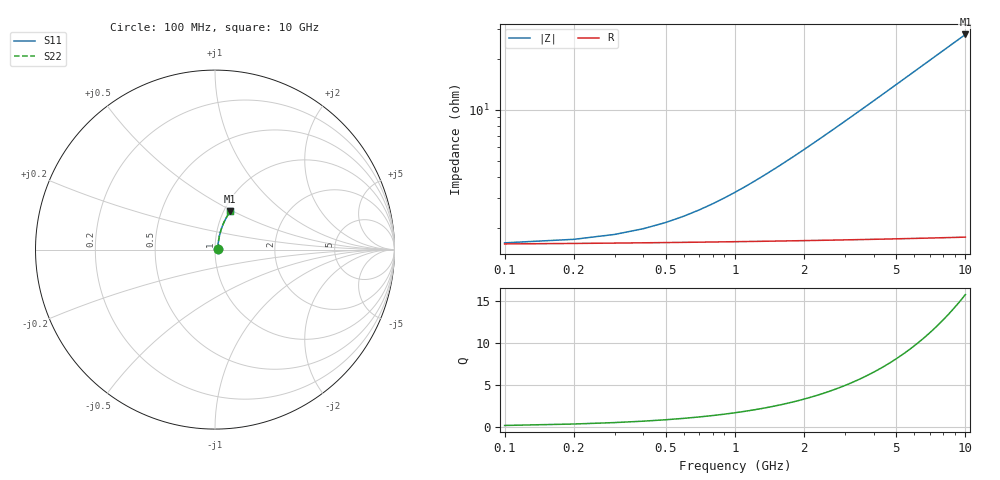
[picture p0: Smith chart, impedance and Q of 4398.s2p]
# Hz S RI R 50.00
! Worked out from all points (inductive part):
!   100 points, 100 MHz to 10 GHz, reference 50 ohm
!   read as one part in series: L = 444 pH near 1.9 GHz
!   highest Q = 15.7 at 10 GHz (marker M1), where L = 442 pH
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1e8  0.0158 0.00232  0.9842 -0.00308  0.9842 -0.00308  0.0158 0.00232
2e8  0.0159 0.00464  0.9841 -0.00617  0.9841 -0.00617  0.0159 0.00464
3e8  0.0161 0.00696  0.9839 -0.00925  0.9839 -0.00925  0.0161 0.00696
4e8  0.0162 0.00927  0.9838 -0.0123  0.9838 -0.0123  0.0162 0.00927
9e8  0.0168 0.0208  0.9831 -0.0277  0.9831 -0.0277  0.0168 0.0208
1.2e9  0.0174 0.0278  0.9826 -0.0369  0.9826 -0.0369  0.0174 0.0278
1.5e9  0.0181 0.0347  0.9819 -0.0461  0.9819 -0.0461  0.0181 0.0347
1.8e9  0.0188 0.0416  0.9811 -0.0553  0.9811 -0.0553  0.0188 0.0416
2.1e9  0.0197 0.0485  0.9801 -0.0645  0.9801 -0.0645  0.0197 0.0485
2.5e9  0.0211 0.0576  0.9787 -0.0767  0.9787 -0.0767  0.0211 0.0576
2.9e9  0.0228 0.0667  0.977 -0.0888  0.977 -0.0888  0.0228 0.0667
3.4e9  0.0251 0.078  0.9745 -0.104  0.9745 -0.104  0.0251 0.078
3.8e9  0.0272 0.0869  0.9723 -0.116  0.9723 -0.116  0.0272 0.0869
4.2e9  0.0295 0.0958  0.9699 -0.1279  0.9699 -0.1279  0.0295 0.0958
4.6e9  0.0321 0.1046  0.9673 -0.1398  0.9673 -0.1398  0.0321 0.1046
5.1e9  0.0355 0.1155  0.9637 -0.1545  0.9637 -0.1545  0.0355 0.1155
5.9e9  0.0418 0.1326  0.9572 -0.1778  0.9572 -0.1778  0.0418 0.1326
6.7e9  0.0488 0.1494  0.9498 -0.2007  0.9498 -0.2007  0.0488 0.1494
7.5e9  0.0566 0.1656  0.9417 -0.2231  0.9417 -0.2231  0.0566 0.1656
8.4e9  0.0662 0.1834  0.9316 -0.2478  0.9316 -0.2478  0.0662 0.1834
9.2e9  0.0755 0.1985  0.9219 -0.2691  0.9219 -0.2691  0.0755 0.1985
1e10  0.0855 0.2132  0.9115 -0.2899  0.9115 -0.2899  0.0855 0.2132
